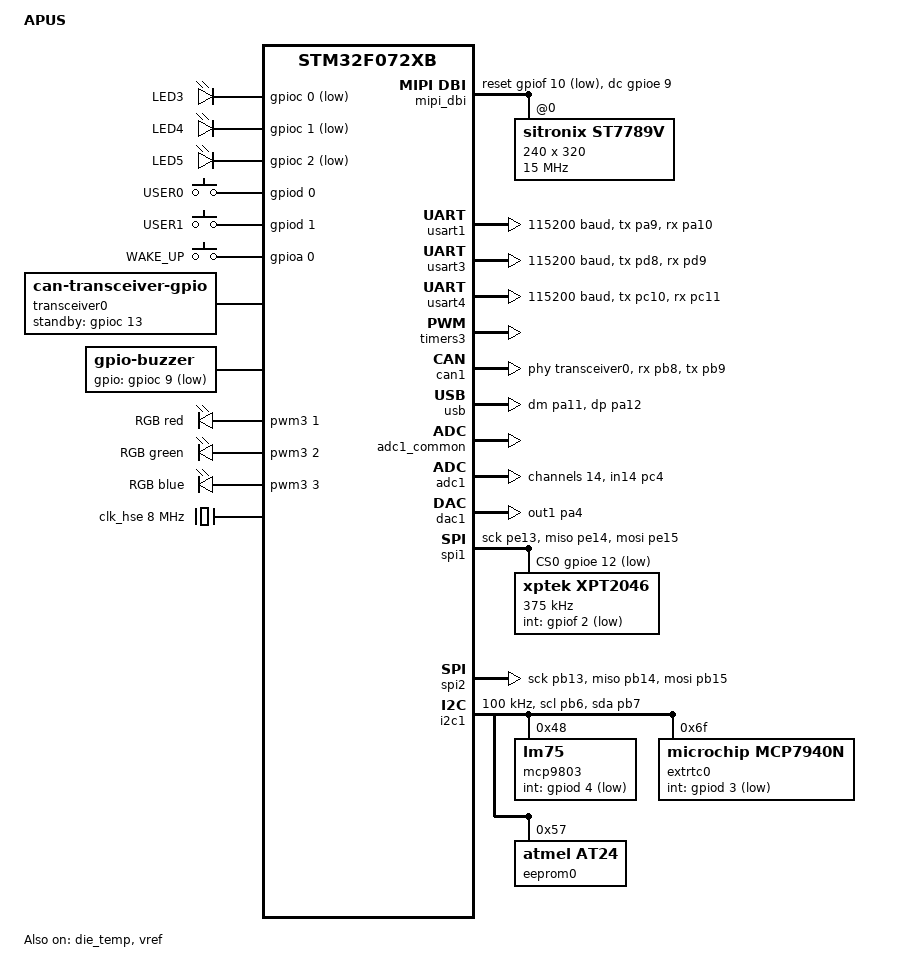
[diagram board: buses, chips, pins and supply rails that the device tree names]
/*
 * Copyright (c) 2026 Jakob Jungreuthmayer
 *
 * SPDX-License-Identifier: Apache-2.0
 */

/dts-v1/;
#include <st/f0/stm32f072Xb.dtsi>
#include <st/f0/stm32f072v(8-b)tx-pinctrl.dtsi>
#include "arduino_r3_connector.dtsi"
#include <zephyr/dt-bindings/display/panel.h>
#include <zephyr/dt-bindings/input/input-event-codes.h>

/ {
	model = "APUS";
	compatible = "hsd,apus";

	chosen {
		zephyr,console = &usart3;
		zephyr,shell-uart = &usart3;
		zephyr,canbus = &can1;
		zephyr,display = &st7789v;
		zephyr,sram = &sram0;
		zephyr,flash = &flash0;
	};

	leds {
		compatible = "gpio-leds";

		led3: led_3 {
			gpios = <&gpioc 0 GPIO_ACTIVE_LOW>;
			label = "LED3";
		};

		led4: led_4 {
			gpios = <&gpioc 1 GPIO_ACTIVE_LOW>;
			label = "LED4";
		};

		led5: led_5 {
			gpios = <&gpioc 2 GPIO_ACTIVE_LOW>;
			label = "LED5";
		};
	};

	buttons {
		compatible = "gpio-keys";

		user_0_button: button_user_0 {
			gpios = <&gpiod 0 (GPIO_ACTIVE_HIGH | GPIO_PULL_DOWN)>;
			label = "USER0";
			zephyr,code = <INPUT_KEY_0>;
		};

		user_1_button: button_user_1 {
			gpios = <&gpiod 1 (GPIO_ACTIVE_HIGH | GPIO_PULL_DOWN)>;
			label = "USER1";
			zephyr,code = <INPUT_KEY_1>;
		};
	};

	wake_up_buttons {
		compatible = "gpio-keys";
		polling-mode;

		wake_up_button: button_wake_up {
			gpios = <&gpioa 0 (GPIO_ACTIVE_HIGH | GPIO_PULL_DOWN)>;
			label = "WAKE_UP";
			zephyr,code = <INPUT_KEY_WAKEUP>;
		};
	};

	mipi_dbi: mipi-dbi {
		compatible = "zephyr,mipi-dbi-bitbang";
		data-gpios = <&gpioe 0 GPIO_ACTIVE_HIGH>,
			     <&gpioe 1 GPIO_ACTIVE_HIGH>,
			     <&gpioe 2 GPIO_ACTIVE_HIGH>,
			     <&gpioe 3 GPIO_ACTIVE_HIGH>,
			     <&gpioe 4 GPIO_ACTIVE_HIGH>,
			     <&gpioe 5 GPIO_ACTIVE_HIGH>,
			     <&gpioe 6 GPIO_ACTIVE_HIGH>,
			     <&gpioe 7 GPIO_ACTIVE_HIGH>;
		cs-gpios = <&gpioe 8 GPIO_ACTIVE_LOW>;
		dc-gpios = <&gpioe 9 GPIO_ACTIVE_HIGH>;
		wr-gpios = <&gpioe 10 GPIO_ACTIVE_HIGH>;
		rd-gpios = <&gpioe 11 GPIO_ACTIVE_HIGH>;
		reset-gpios = <&gpiof 10 GPIO_ACTIVE_LOW>;
		#address-cells = <1>;
		#size-cells = <0>;

		st7789v: st7789v@0 {
			compatible = "sitronix,st7789v";
			reg = <0>;
			mipi-mode = "MIPI_DBI_MODE_8080_BUS_8_BIT";
			mipi-max-frequency = <DT_FREQ_M(15)>;
			width = <240>;
			height = <320>;
			x-offset = <0>;
			y-offset = <0>;
			vcom = <0x19>;
			gctrl = <0x35>;
			vrhs = <0x12>;
			vdvs = <0x20>;
			mdac = <0x00>;
			gamma = <0x01>;
			pixel-format = <PANEL_PIXEL_FORMAT_RGB_565X>;
			lcm = <0x2c>;
			porch-param = [0c 0c 00 33 33];
			cmd2en-param = [5a 69 02 01];
			pwctrl1-param = [a4 a1];
			pvgam-param = [d0 04 0d 11 13 2b 3f 54 4c 18 0d 0b 1f 23];
			nvgam-param = [d0 04 0c 11 13 2c 3f 44 51 2f 1f 1f 20 23];
			ram-param = [00 f0];
			rgb-param = [cd 08 14];
			inversion-off;
		};
	};

	transceiver0: can-phy0 {
		compatible = "can-transceiver-gpio";
		standby-gpios = <&gpioc 13 GPIO_ACTIVE_HIGH>;
		max-bitrate = <1000000>;
		#phy-cells = <0>;
	};

	buzzer: buzzer {
		compatible = "gpio-buzzer";
		gpios = <&gpioc 9 GPIO_ACTIVE_LOW>;
	};

	pwmleds {
		compatible = "pwm-leds";

		red_pwm_led: red_pwm_led {
			pwms = <&pwm3 1 PWM_MSEC(1) PWM_POLARITY_INVERTED>;
			label = "RGB red";
		};

		green_pwm_led: green_pwm_led {
			pwms = <&pwm3 2 PWM_MSEC(1) PWM_POLARITY_INVERTED>;
			label = "RGB green";
		};

		blue_pwm_led: blue_pwm_led {
			pwms = <&pwm3 3 PWM_MSEC(1) PWM_POLARITY_INVERTED>;
			label = "RGB blue";
		};
	};

	aliases {
		led0 = &led3;
		led1 = &led4;
		led2 = &led5;
		sw0 = &user_0_button;
		sw1 = &user_1_button;
		sw2 = &wake_up_button;
		pwm-led0 = &red_pwm_led;
		pwm-led1 = &green_pwm_led;
		pwm-led2 = &blue_pwm_led;
		red-pwm-led = &red_pwm_led;
		green-pwm-led = &green_pwm_led;
		blue-pwm-led = &blue_pwm_led;
		buzzer0 = &buzzer;
		ambient-temp0 = &mcp9803;
		eeprom-0 = &eeprom0;
		die-temp0 = &die_temp;
		volt-sensor0 = &vref;
	};
};

&clk_hse {
	clock-frequency = <DT_FREQ_M(8)>;
	status = "okay";
};

&pll {
	clocks = <&clk_hse>;
	prediv = <1>;
	mul = <6>;
	status = "okay";
};

&rcc {
	clocks = <&pll>;
	clock-frequency = <DT_FREQ_M(48)>;
	ahb-prescaler = <1>;
	apb1-prescaler = <1>;
};

&usart1 {
	pinctrl-0 = <&usart1_tx_pa9 &usart1_rx_pa10>;
	pinctrl-names = "default";
	current-speed = <115200>;
	status = "okay";
};

&usart3 {
	pinctrl-0 = <&usart3_tx_pd8 &usart3_rx_pd9>;
	pinctrl-names = "default";
	current-speed = <115200>;
	status = "okay";
};

&usart4 {
	pinctrl-0 = <&usart4_tx_pc10 &usart4_rx_pc11>;
	pinctrl-names = "default";
	current-speed = <115200>;
	status = "okay";
};

&timers3 {
	st,prescaler = <479>;
	status = "okay";

	pwm3: pwm {
		pinctrl-0 = <&tim3_ch1_pc6 &tim3_ch2_pc7 &tim3_ch3_pc8>;
		pinctrl-names = "default";
		status = "okay";
	};
};

&can1 {
	pinctrl-0 = <&can_rx_pb8 &can_tx_pb9>;
	pinctrl-names = "default";
	phys = <&transceiver0>;
	status = "okay";
};

zephyr_udc0: &usb {
	pinctrl-0 = <&usb_dm_pa11 &usb_dp_pa12>;
	pinctrl-names = "default";
	status = "okay";
};

&adc1_common {
	st,adc-clock-source = "SYNC";
	st,adc-prescaler = <4>;
	status = "okay";
};

&adc1 {
	pinctrl-0 = <&adc_in14_pc4>;
	pinctrl-names = "default";
	#address-cells = <1>;
	#size-cells = <0>;
	status = "okay";

	channel@e {
		reg = <14>;
		zephyr,gain = "ADC_GAIN_1";
		zephyr,reference = "ADC_REF_INTERNAL";
		zephyr,acquisition-time = <ADC_ACQ_TIME_DEFAULT>;
		zephyr,resolution = <12>;
	};
};

&dac1 {
	pinctrl-0 = <&dac_out1_pa4>;
	pinctrl-names = "default";
	status = "okay";
};

&die_temp {
	status = "okay";
};

&vref {
	status = "okay";
};

&spi1 {
	pinctrl-0 = <&spi1_sck_pe13 &spi1_miso_pe14 &spi1_mosi_pe15>;
	pinctrl-names = "default";
	cs-gpios = <&gpioe 12 GPIO_ACTIVE_LOW>;
	status = "okay";

	xpt2046: touch@0 {
		compatible = "xptek,xpt2046";
		reg = <0>;
		spi-max-frequency = <375000>;
		int-gpios = <&gpiof 2 (GPIO_ACTIVE_LOW | GPIO_PULL_UP)>;
		touchscreen-size-x = <240>;
		touchscreen-size-y = <320>;
		min-x = <202>;
		min-y = <264>;
		max-x = <3820>;
		max-y = <3837>;
		screen-height = <320>;
		inverted-y;
		reads = <4>;
	};
};

&spi2 {
	pinctrl-0 = <&spi2_sck_pb13 &spi2_miso_pb14 &spi2_mosi_pb15>;
	pinctrl-names = "default";
	cs-gpios = <&gpiob 12 (GPIO_ACTIVE_LOW | GPIO_PULL_UP)>;
	status = "okay";
};

&i2c1 {
	pinctrl-0 = <&i2c1_scl_pb6 &i2c1_sda_pb7>;
	pinctrl-names = "default";
	scl-gpios = <&gpiob 6 GPIO_ACTIVE_HIGH>;
	sda-gpios = <&gpiob 7 GPIO_ACTIVE_HIGH>;
	clock-frequency = <I2C_BITRATE_STANDARD>;
	status = "okay";

	mcp9803: mcp9803@48 {
		compatible = "lm75";
		reg = <0x48>;
		int-gpios = <&gpiod 4 GPIO_ACTIVE_LOW>;
	};

	extrtc0: mcp79410@6f {
		compatible = "microchip,mcp7940n";
		reg = <0x6f>;
		int-gpios = <&gpiod 3 GPIO_ACTIVE_LOW>;
		vbat-enable;
	};

	eeprom0: eeprom@57 {
		compatible = "atmel,at24";
		reg = <0x57>;
		size = <128>;
		pagesize = <8>;
		address-width = <8>;
		timeout = <5>;
	};
};
